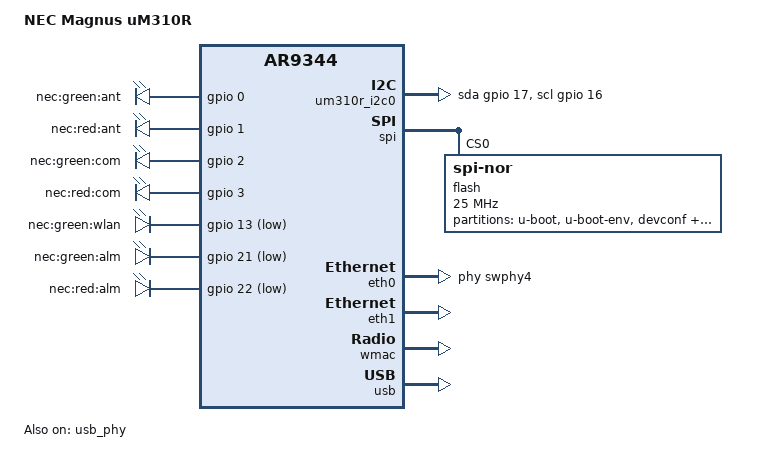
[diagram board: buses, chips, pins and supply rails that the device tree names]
// SPDX-License-Identifier: GPL-2.0-or-later OR MIT

#include "ar9344.dtsi"

#include <dt-bindings/gpio/gpio.h>

/ {
	model = "NEC Magnus uM310R";
	compatible = "nec,um310r", "qca,ar9344";

	aliases {
		label-mac-device = &eth0;
	};

	/*
	 * PWR is hard-wired to the power rail and has no software GPIO.
	 * ANT, COM and ALM are two-die red/green LEDs; enabling both
	 * channels produces orange.
	 * LAN1/LAN2 are configured below as switch hardware LEDs.
	 */
	leds {
		compatible = "gpio-leds";

		ant_green: ant-green {
			label = "nec:green:ant";
			gpios = <&gpio 0 GPIO_ACTIVE_HIGH>;
			default-state = "off";
		};

		ant_red: ant-red {
			label = "nec:red:ant";
			gpios = <&gpio 1 GPIO_ACTIVE_HIGH>;
			default-state = "off";
		};

		com_green: com-green {
			label = "nec:green:com";
			gpios = <&gpio 2 GPIO_ACTIVE_HIGH>;
			default-state = "off";
		};

		com_red: com-red {
			label = "nec:red:com";
			gpios = <&gpio 3 GPIO_ACTIVE_HIGH>;
			default-state = "off";
		};

		wlan_green: wlan-green {
			label = "nec:green:wlan";
			gpios = <&gpio 13 GPIO_ACTIVE_LOW>;
			linux,default-trigger = "phy0tpt";
			default-state = "off";
		};

		alm_green: alm-green {
			label = "nec:green:alm";
			gpios = <&gpio 21 GPIO_ACTIVE_LOW>;
			default-state = "off";
		};

		alm_red: alm-red {
			label = "nec:red:alm";
			gpios = <&gpio 22 GPIO_ACTIVE_LOW>;
			default-state = "off";
		};
	};

	/*
	 * NEC stock firmware uses a GPIO-bitbanged I2C bus.
	 * First diagnostic assumption:
	 *   GPIO16 = SCL
	 *   GPIO17 = SDA
	 */
	um310r_i2c0: i2c {
		compatible = "i2c-gpio";

		scl-gpios = <&gpio 16 GPIO_ACTIVE_HIGH>;
		sda-gpios = <&gpio 17 GPIO_ACTIVE_HIGH>;

		/* conservative ~50 kHz for bring-up */
		i2c-gpio,delay-us = <10>;

		#address-cells = <1>;
		#size-cells = <0>;
	};

};

/*
 * U-Boot/strap behaviour and the stock kernel clock report are consistent
 * with a 25 MHz reference clock.
 */
&ref {
	clock-frequency = <25000000>;
};


&gpio {
	pinctrl-names = "default";
	pinctrl-0 = <&jtag_disable_pins>;
};

&pinmux {
	pmx_um310r_switch_leds: um310r-switch-leds {
		/*
		 * Exact values recovered from the stock kernel:
		 * GPIO19 = 0x29 = switch PHY1 hardware LED
		 * GPIO20 = 0x2a = switch PHY2 hardware LED
		 */
		pinctrl-single,bits =
			<0x10 0x29000000 0xff000000>,
			<0x14 0x0000002a 0x000000ff>;
	};
};

&builtin_switch {
	pinctrl-names = "default";
	pinctrl-0 = <&pmx_um310r_switch_leds>;
};

&spi {
	status = "okay";

	flash@0 {
		compatible = "jedec,spi-nor";
		reg = <0>;
		spi-max-frequency = <25000000>;

		/*
		 * Stock 16 MiB NOR layout recovered from /proc/mtd and a full
		 * flash dump.  v0.1 deliberately makes EVERY stock partition
		 * read-only: this profile is intended for RAM-only initramfs boot.
		 */
		partitions {
			compatible = "fixed-partitions";
			#address-cells = <1>;
			#size-cells = <1>;

			partition@0 {
				label = "u-boot";
				reg = <0x000000 0x040000>;
				read-only;
			};

			partition@40000 {
				label = "u-boot-env";
				reg = <0x040000 0x010000>;
				read-only;
			};

			devconf: partition@50000 {
				label = "devconf";
				reg = <0x050000 0x010000>;
				read-only;
			};

			partition@60000 {
				label = "upgrade1";
				reg = <0x060000 0x750000>;
				read-only;
			};

			partition@7b0000 {
				label = "reserved-7b0000";
				reg = <0x7b0000 0x010000>;
				read-only;
			};

			partition@7c0000 {
				compatible = "denx,uimage";
				label = "firmware";
				reg = <0x7c0000 0x750000>;
			};

			partition@f10000 {
				label = "IP Counter 64K";
				reg = <0xf10000 0x010000>;
				read-only;
			};

			art: partition@f20000 {
				label = "ART";
				reg = <0xf20000 0x010000>;
				read-only;

				nvmem-layout {
					compatible = "fixed-layout";
					#address-cells = <1>;
					#size-cells = <1>;

					cal_art_1000: calibration@1000 {
						reg = <0x1000 0x440>;
					};
				};
			};

			partition@f30000 {
				label = "devconf2";
				reg = <0xf30000 0x010000>;
				read-only;
			};

			partition@f40000 {
				label = "System Log 576K";
				reg = <0xf40000 0x090000>;
				read-only;
			};

			partition@fd0000 {
				label = "3G Level Log 64K";
				reg = <0xfd0000 0x010000>;
				read-only;
			};

			partition@fe0000 {
				label = "Management Config 64K";
				reg = <0xfe0000 0x010000>;
				read-only;
			};

			partition@ff0000 {
				label = "reserved-ff0000";
				reg = <0xff0000 0x010000>;
				read-only;
			};
		};
	};
};

/*
 * Stock U-Boot reports eth0 on S27 PHY4 and eth1 on the internal S27 side.
 * This is the same topology already represented by ar934x.dtsi.
 */
&eth0 {
	status = "okay";
	phy-handle = <&swphy4>;
};

&eth1 {
	status = "okay";
};

/* AR9350/AR9344-compatible integrated 2.4 GHz WMAC. */
&wmac {
	status = "okay";
	nvmem-cells = <&cal_art_1000>;
	nvmem-cell-names = "calibration";
};

&usb {
	status = "okay";
};

&usb_phy {
	status = "okay";
};
